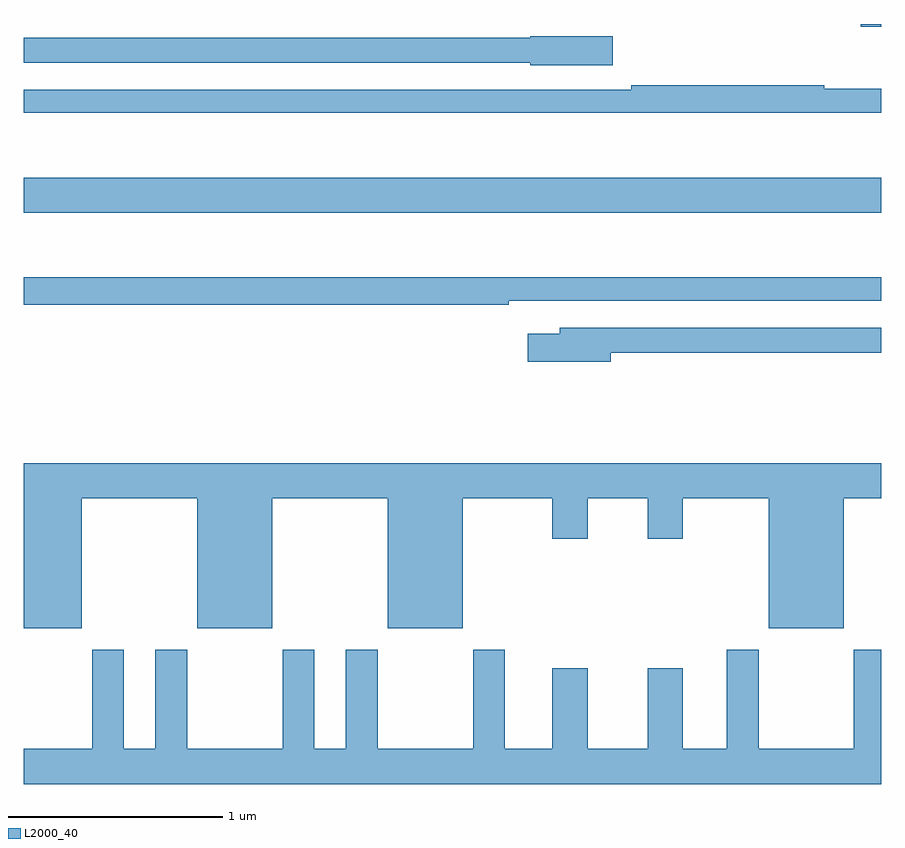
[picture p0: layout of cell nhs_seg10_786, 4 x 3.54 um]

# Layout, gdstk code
import gdstk
lib = gdstk.Library(unit=1e-6, precision=1e-09)
def R(c, l, rs):  # rectangles x0, y0, x1, y1
    for r in rs: c.add(gdstk.rectangle(r[:2], r[2:], *l))
def P(c, l, *ps):  # polygons
    for p in ps: c.add(gdstk.Polygon(p, *l))
L2000_40 = (2000, 40)

nhs_seg10_786 = lib.new_cell('nhs_seg10_786')
R(nhs_seg10_786, L2000_40, [(149,1329.62,153,1329.784), (152.904,1330.487,153,1330.5)])
P(nhs_seg10_786, L2000_40, [(151.747,1330.442),(151.362,1330.442),(151.362,1330.436),(149,1330.436),(149,1330.32),(151.362,1330.32),(151.362,1330.307),(151.747,1330.307)],
  [(153,1330.199),(152.734,1330.199),(152.734,1330.214),(151.834,1330.214),(151.834,1330.194),(149,1330.194),(149,1330.086),(153,1330.086)],
  [(151.262,1329.21),(153,1329.21),(153,1329.319),(149,1329.319),(149,1329.19),(151.262,1329.19)],
  [(151.738,1328.968),(153,1328.968),(153,1329.084),(151.499,1329.084),(151.499,1329.055),(151.35,1329.055),(151.35,1328.926),(151.738,1328.926)],
  [(149.272,1328.288),(149.81,1328.288),(149.81,1327.682),(150.16,1327.682),(150.16,1328.288),(150.698,1328.288),(150.698,1327.682),(151.048,1327.682),(151.048,1328.288),(151.466,1328.288),(151.466,1328.1),(151.63,1328.1),(151.63,1328.288),(151.91,1328.288),(151.91,1328.1),(152.074,1328.1),(152.074,1328.288),(152.474,1328.288),(152.474,1327.682),(152.824,1327.682),(152.824,1328.288),(153,1328.288),(153,1328.452),(149,1328.452),(149,1327.682),(149.272,1327.682)],
  [(150.208,1327.582),(150.208,1327.12),(149.763,1327.12),(149.763,1327.582),(149.615,1327.582),(149.615,1327.12),(149.467,1327.12),(149.467,1327.582),(149.32,1327.582),(149.32,1327.12),(149,1327.12),(149,1326.956),(153,1326.956),(153,1327.582),(152.872,1327.582),(152.872,1327.12),(152.427,1327.12),(152.427,1327.582),(152.279,1327.582),(152.279,1327.12),(152.074,1327.12),(152.074,1327.495),(151.91,1327.495),(151.91,1327.12),(151.63,1327.12),(151.63,1327.495),(151.466,1327.495),(151.466,1327.12),(151.243,1327.12),(151.243,1327.582),(151.096,1327.582),(151.096,1327.12),(150.651,1327.12),(150.651,1327.582),(150.503,1327.582),(150.503,1327.12),(150.355,1327.12),(150.355,1327.582)])

lib.write_gds('nhs_seg10_786.gds')
